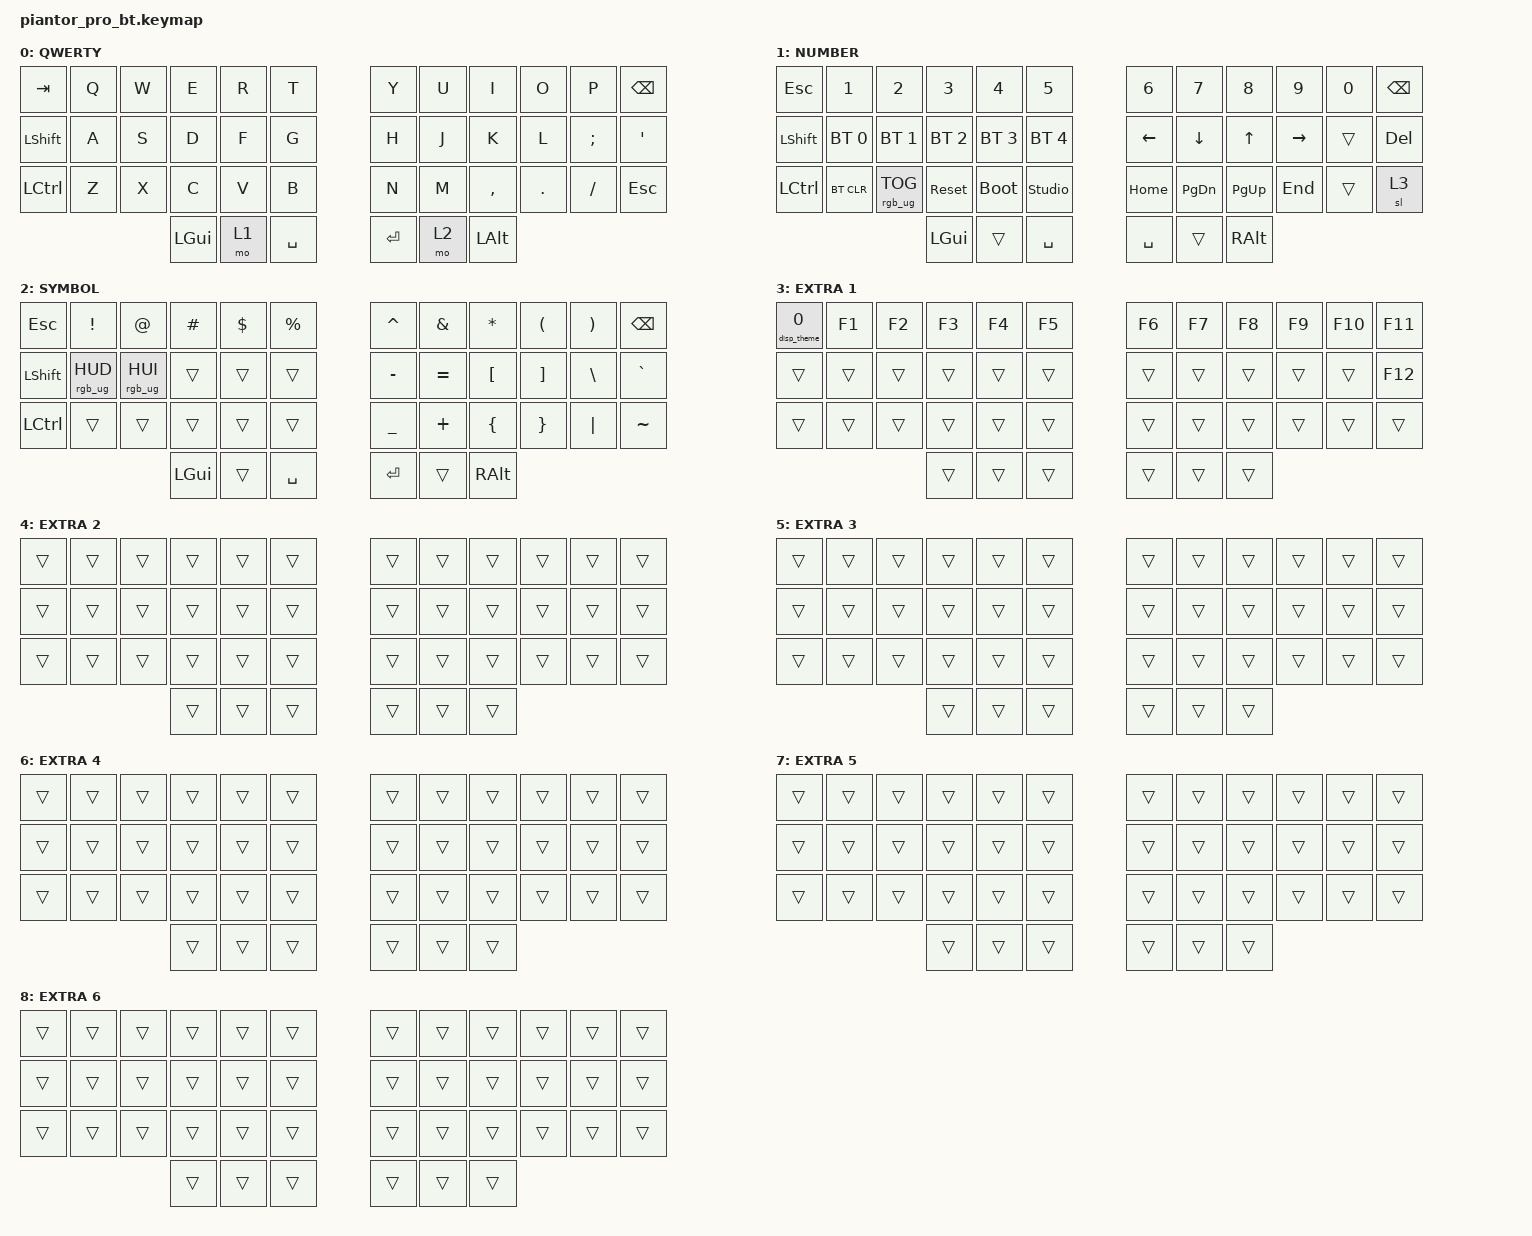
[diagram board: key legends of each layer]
/*
 * Copyright (c) 2020 The ZMK Contributors
 *
 * SPDX-License-Identifier: MIT
 */

#include <behaviors.dtsi>
#include <dt-bindings/zmk/keys.h>
#include <dt-bindings/zmk/bt.h>
#include <dt-bindings/zmk/rgb.h>

// Sticky layers (&sl) stay active for 2.5s instead of the default 1s.
&sl {
    release-after-ms = <2500>;
};

/ {
    chosen {
        zmk,physical-layout = &default_layout;
    };

    behaviors {
        disp_theme: disp_theme {
            compatible = "zmk,behavior-display-theme";
            #binding-cells = <1>;
            display-name = "Display Theme";
        };
    };
};

/ {
    keymap {
        compatible = "zmk,keymap";


        layer_0 {
            display-name = "QWERTY";
            bindings = <
            // --------------------------------------------------------------------------------
            &kp TAB   &kp Q     &kp W     &kp E     &kp R     &kp T     &kp Y     &kp U     &kp I     &kp O     &kp P     &kp BSPC  
            &kp LSHFT &kp A     &kp S     &kp D     &kp F     &kp G     &kp H     &kp J     &kp K     &kp L     &kp SEMI  &kp SQT   
            &kp LCTRL &kp Z     &kp X     &kp C     &kp V     &kp B     &kp N     &kp M     &kp COMMA &kp DOT   &kp FSLH  &kp ESC   
            &kp LGUI  &mo 1     &kp SPACE &kp RET   &mo 2     &kp LALT  
        >;
        };

        layer_1 {
            display-name = "NUMBER";
            bindings = <
            // --------------------------------------------------------------------------------
            &kp ESC         &kp N1          &kp N2          &kp N3          &kp N4          &kp N5          &kp N6          &kp N7          &kp N8          &kp N9          &kp N0          &kp BSPC         
            &kp LSHFT       &bt BT_SEL 0    &bt BT_SEL 1    &bt BT_SEL 2    &bt BT_SEL 3    &bt BT_SEL 4    &kp LEFT        &kp DOWN        &kp UP          &kp RIGHT       &trans          &kp DEL          
            &kp LCTRL       &bt BT_CLR      &rgb_ug RGB_TOG &sys_reset      &bootloader     &studio_unlock  &kp HOME        &kp PG_DN       &kp PG_UP       &kp END         &trans          &sl 3           
            &kp LGUI        &trans          &kp SPACE       &kp SPACE       &trans          &kp RALT        
        >;
        };

        layer_2 {
            display-name = "SYMBOL";
            bindings = <
            // --------------------------------------------------------------------------------
            &kp ESC         &kp EXCL        &kp AT          &kp HASH        &kp DLLR        &kp PRCNT       &kp CARET       &kp AMPS        &kp ASTRK       &kp LPAR        &kp RPAR        &kp BSPC        
            &kp LSHFT       &rgb_ug RGB_HUD &rgb_ug RGB_HUI &trans          &trans          &trans          &kp MINUS       &kp EQUAL       &kp LBKT        &kp RBKT        &kp BSLH        &kp GRAVE       
            &kp LCTRL       &trans          &trans          &trans          &trans          &trans          &kp UNDER       &kp PLUS        &kp LBRC        &kp RBRC        &kp PIPE        &kp TILDE       
            &kp LGUI        &trans          &kp SPACE       &kp RET         &trans          &kp RALT        
        >;
        };

        layer_3 {
            display-name = "EXTRA 1";
            bindings = <
            // --------------------------------------------------------------------------------
            &disp_theme 0 &kp F1  &kp F2  &kp F3  &kp F4  &kp F5  &kp F6  &kp F7  &kp F8  &kp F9  &kp F10 &kp F11
            &trans  &trans  &trans  &trans  &trans  &trans  &trans  &trans  &trans  &trans  &trans  &kp F12 
            &trans  &trans  &trans  &trans  &trans  &trans  &trans  &trans  &trans  &trans  &trans  &trans  
            &trans  &trans  &trans  &trans  &trans  &trans  
        >;
        };

        layer_4 {
            display-name = "EXTRA 2";
            bindings = <
            // --------------------------------------------------------------------------------
            &trans &trans &trans &trans &trans &trans &trans &trans &trans &trans &trans &trans 
            &trans &trans &trans &trans &trans &trans &trans &trans &trans &trans &trans &trans 
            &trans &trans &trans &trans &trans &trans &trans &trans &trans &trans &trans &trans 
            &trans &trans &trans &trans &trans &trans 
        >;
        };

        layer_5 {
            display-name = "EXTRA 3";
            bindings = <
            // --------------------------------------------------------------------------------
            &trans &trans &trans &trans &trans &trans &trans &trans &trans &trans &trans &trans 
            &trans &trans &trans &trans &trans &trans &trans &trans &trans &trans &trans &trans 
            &trans &trans &trans &trans &trans &trans &trans &trans &trans &trans &trans &trans 
            &trans &trans &trans &trans &trans &trans 
        >;
        };

        layer_6 {
            display-name = "EXTRA 4";
            bindings = <
            // --------------------------------------------------------------------------------
            &trans &trans &trans &trans &trans &trans &trans &trans &trans &trans &trans &trans 
            &trans &trans &trans &trans &trans &trans &trans &trans &trans &trans &trans &trans 
            &trans &trans &trans &trans &trans &trans &trans &trans &trans &trans &trans &trans 
            &trans &trans &trans &trans &trans &trans 
        >;
        };

        layer_7 {
            display-name = "EXTRA 5";
            bindings = <
            // --------------------------------------------------------------------------------
            &trans &trans &trans &trans &trans &trans &trans &trans &trans &trans &trans &trans 
            &trans &trans &trans &trans &trans &trans &trans &trans &trans &trans &trans &trans 
            &trans &trans &trans &trans &trans &trans &trans &trans &trans &trans &trans &trans 
            &trans &trans &trans &trans &trans &trans 
        >;
        };

        layer_8 {
            display-name = "EXTRA 6";
            bindings = <
            // --------------------------------------------------------------------------------
            &trans &trans &trans &trans &trans &trans &trans &trans &trans &trans &trans &trans 
            &trans &trans &trans &trans &trans &trans &trans &trans &trans &trans &trans &trans 
            &trans &trans &trans &trans &trans &trans &trans &trans &trans &trans &trans &trans 
            &trans &trans &trans &trans &trans &trans 
        >;
        };
    };
};
